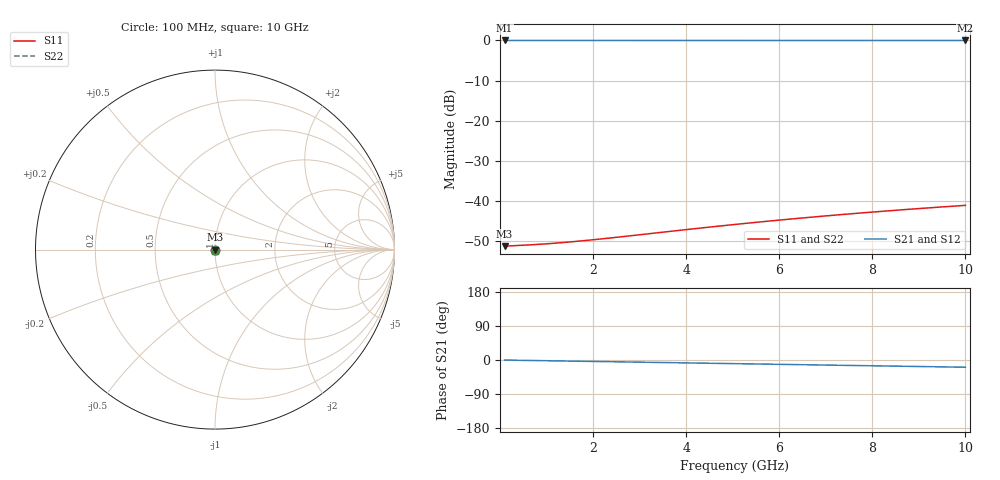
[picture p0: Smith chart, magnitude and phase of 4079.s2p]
# Hz S RI R 50.00
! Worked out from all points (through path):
!   100 points, 100 MHz to 10 GHz, reference 50 ohm
!   highest |S21| = -0.02 dB at 100 MHz (marker M1); lowest = 0.0 dB at 10 GHz (marker M2)
!   group delay of S21, straight-line fit = 5.3 ps
!   lowest |S11| = -51.3 dB at 100 MHz (marker M3), VSWR 1.01, Z = 50.3 - j0.00925 ohm
!   |S11| at or under -10 dB: start of sweep to end of sweep
!   |S22| runs from -51.3 to -41.1 dB; largest |S21 - S12| = 0
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1e8  0.00273 -9.2e-05  0.9973 -0.00332  0.9973 -0.00332  0.00273 -9.2e-05
6e8  0.00277 -0.000553  0.997 -0.0199  0.997 -0.0199  0.00277 -0.000553
8e8  0.00278 -0.000737  0.9968 -0.0265  0.9968 -0.0265  0.00278 -0.000737
1e9  0.00277 -0.000922  0.9966 -0.0332  0.9966 -0.0332  0.00277 -0.000922
1.2e9  0.00277 -0.00111  0.9964 -0.0398  0.9964 -0.0398  0.00277 -0.00111
1.4e9  0.00276 -0.00129  0.9961 -0.0464  0.9961 -0.0464  0.00276 -0.00129
1.8e9  0.00273 -0.00166  0.9953 -0.0597  0.9953 -0.0597  0.00273 -0.00166
2.1e9  0.00271 -0.00194  0.9947 -0.0696  0.9947 -0.0696  0.00271 -0.00194
2.4e9  0.00267 -0.00221  0.9939 -0.0795  0.9939 -0.0795  0.00267 -0.00221
3.4e9  0.00252 -0.00313  0.9906 -0.1125  0.9906 -0.1125  0.00252 -0.00313
4.3e9  0.00233 -0.00395  0.9868 -0.1422  0.9868 -0.1422  0.00233 -0.00395
5.1e9  0.00212 -0.00467  0.9826 -0.1684  0.9826 -0.1684  0.00212 -0.00467
5.5e9  0.002 -0.00503  0.9803 -0.1815  0.9803 -0.1815  0.002 -0.00503
5.9e9  0.00187 -0.00538  0.9777 -0.1945  0.9777 -0.1945  0.00187 -0.00538
6.3e9  0.00173 -0.00573  0.975 -0.2075  0.975 -0.2075  0.00173 -0.00573
6.7e9  0.00159 -0.00608  0.9721 -0.2205  0.9721 -0.2205  0.00159 -0.00608
7.1e9  0.00143 -0.00642  0.9691 -0.2335  0.9691 -0.2335  0.00143 -0.00642
7.5e9  0.00126 -0.00677  0.9659 -0.2464  0.9659 -0.2464  0.00126 -0.00677
7.9e9  0.00109 -0.0071  0.9625 -0.2592  0.9625 -0.2592  0.00109 -0.0071
8.4e9  0.00086 -0.00752  0.958 -0.2753  0.958 -0.2753  0.00086 -0.00752
9.2e9  0.000464 -0.00817  0.9503 -0.3007  0.9503 -0.3007  0.000464 -0.00817
1e10  3.4e-05 -0.0088  0.9418 -0.326  0.9418 -0.326  3.4e-05 -0.0088
